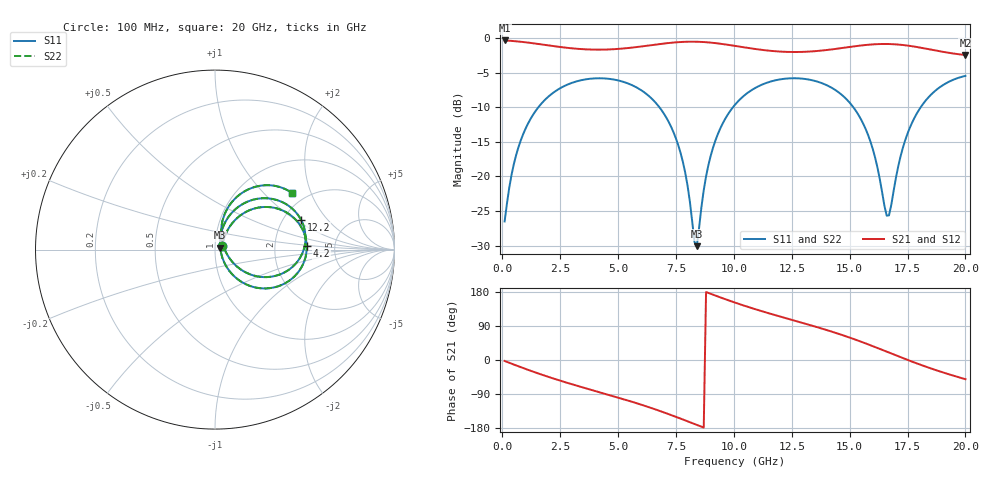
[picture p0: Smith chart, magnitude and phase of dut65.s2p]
! Touchstone file exported from HFSS 2026.1.0
!  File:  C:/ffzhzh/LocalFiles/Ansys_Project_Files/temp_train_TSV_RDL_65_1782968827_45748.aedt
!  Generated:  01:23:06 PM Jul  2, 2026
!  Design:  TSV_RDL
!  Project:  temp_train_TSV_RDL_65_1782968827_45748
! Variables:
!  h_bsmrdl = 3.03um
!  h_ox = 20um
!  h_rdl = 5um
!  h_sub = 94.64um
!  h_tmrdl = 3.53um
!  h_tsv = 94.64um
!  h_via = 3um
!  l_bsmrdl = 824.81um
!  l_sub = 6525.1um
!  l_tmrdl = 885.81um
!  m_sub = 200um
!  pitch = 41.82um
!  r_tsv = 10.6um
!  s_tmrdl = 10um
!  w_bsmrdl = 23.42um
!  w_sub = 500um
!  w_tmrdl = 12.39um
!  x_tsv_center1 = 892.005um
!  x_tsv_center2 = 1740.235um
!  x_tsv_center3 = 2638.435um
!  x_tsv_center4 = 3486.665um
!  x_tsv_center5 = 4384.865um
!  x_tsv_center6 = 5233.095um
# GHz S MA R 50.000000
! Terminal data exported
! Port[1] = TM_RDL1_1_T1
! Port[2] = TM_RDL5_1_T1
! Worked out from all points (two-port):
!   200 points, 100 MHz to 20 GHz, reference 50 ohm
!   highest |S21| = -0.36 dB at 100 MHz (marker M1); lowest = -2.5 dB at 20 GHz (marker M2)
!   |S21| within 3 dB of the highest: start of sweep to end of sweep
!   lowest |S11| = -30.1 dB at 8.4 GHz (marker M3), VSWR 1.06, Z = 53 + j1.16 ohm
!   |S11| at or under -10 dB: start of sweep to 1.563 GHz; 6.781 GHz to 9.966 GHz (3.185 GHz wide, 38 % of centre); 15.16 GHz to 18.07 GHz (2.918 GHz wide, 17.6 % of centre)
!   |S22| runs from -30.2 to -5.5 dB; largest |S21 - S12| = 1.7e-14
!   S11 on the Smith chart (normalised r, x): 100 MHz: 1.09, +0.05; 4.2 GHz: 3.08, +0.17; 12.2 GHz: 2.49, +1.11; 20 GHz: 1.68, +1.48
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0.1  0.0472 28.5  0.9592 -2.5  0.9592 -2.5  0.0472 28.5
! Gamma 0 0 0 0
! Port Impedance 50 0 50 0
0.5  0.1228 56.8  0.9491 -12.0  0.9491 -12.0  0.1228 56.8
1.2  0.2564 51.9  0.9218 -27.9  0.9218 -27.9  0.2564 51.9
2.2  0.402 35.5  0.8736 -48.7  0.8736 -48.7  0.402 35.5
3.5  0.4988 13.7  0.8292 -72.8  0.8292 -72.8  0.4988 13.7
4.2  0.5114 2.3  0.8231 -85.0  0.8231 -85.0  0.5114 2.3
5.7  0.448 -22.8  0.8552 -112.1  0.8552 -112.1  0.448 -22.8
6.8  0.3133 -42.6  0.9036 -134.4  0.9036 -134.4  0.3133 -42.6
7.7  0.1474 -55.9  0.9348 -154.7  0.9348 -154.7  0.1474 -56.0
8.4  0.03128 20.5  0.9391 -171.2  0.9391 -171.2  0.03095 20.6
8.7  0.0795 67.0  0.9342 -178.3  0.9342 -178.3  0.07933 67.2
9  0.1406 70.2  0.9256 174.7  0.9256 174.7  0.1405 70.4
10.1  0.3366 54.2  0.8736 150.4  0.8736 150.4  0.3365 54.3
12.2  0.5074 19.0  0.7941 111.2  0.7941 111.2  0.5074 19.0
13.4  0.4941 -0.1  0.8 90.2  0.8 90.2  0.4941 -0.0
15.4  0.2747 -32.7  0.8784 50.4  0.8784 50.4  0.2748 -32.7
16  0.1576 -37.7  0.8986 36.6  0.8986 36.6  0.1576 -37.7
16.6  0.05201 7.1  0.9048 22.0  0.9048 22.0  0.05193 7.1
16.7  0.05222 31.1  0.9041 19.6  0.9041 19.6  0.0521 31.1
17.3  0.1609 75.3  0.8894 5.0  0.8894 5.0  0.1607 75.4
17.9  0.2841 70.2  0.8604 -9.0  0.8604 -9.0  0.284 70.3
20  0.5319 36.4  0.7532 -50.7  0.7532 -50.7  0.5318 36.5
